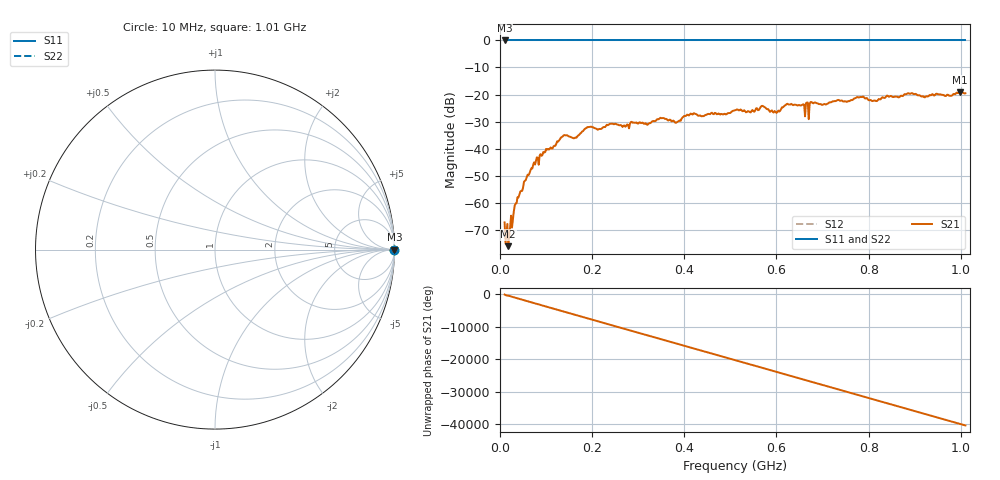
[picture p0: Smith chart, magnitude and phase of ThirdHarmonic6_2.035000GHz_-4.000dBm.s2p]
! 8/17/2025 12:24:37 AM
! C:\ANRITSUVNA\TEMP\TEMP.S2P
! CHANNEL.1
! TR.MEASUREMENT
! RAW.DATA
! RF.CORRECTION.OFF
! AVERAGING.OFF
! IF.BANDWIDTH: 5KHZ
! SWEEPTYPE:  FREQ.SWEEP(Linear)
! Reference Plane Port Info
! PORT:  PORT1  PORT2
! DISTANCE:  0  m  0  m
! TIME:  0  s  0  s
! PHASE.OFFSET:  0  deg.  0  deg.
! LOSS:  0  dB  0  dB
! REF.LOSS:  0  dB  0  dB
! REF.FREQ:  0  Hz  0  Hz
! Power Info
! POWER:  -20  dBm  -20  dBm
! EFF.POWER:  -20  dBm  -20  dBm
! SOURCE.ATTEN:  0  dB  0  dB
! TEST.ATTEN:  0  dB  0  dB
# GHZ S RI R 50.0
! FREQ.GHZ  S11RE  S11IM  S21RE  S21IM  S12RE  S12IM  S22RE  S22IM
!; PortSelection: Port_12
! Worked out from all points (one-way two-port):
!   501 points, 10 MHz to 1.01 GHz, reference 50 ohm
!   highest |S21| = -19.19 dB at 998 MHz (marker M1); lowest = -76.1 dB at 18 MHz (marker M2)
!   lowest |S11| = 0.0 dB at 10 MHz (marker M3)
!   |S11| at or under -10 dB: nowhere
!   |S22| runs from 0.0 to 0.0 dB; largest |S21 - S12| = 1.1
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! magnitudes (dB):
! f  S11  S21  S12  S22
! 10 MHz  0.0  -67.3  0.0  0.0
! 16 MHz  0.0  -67.9  0.0  0.0
! 18 MHz  0.0  -76.1  0.0  0.0
! 22 MHz  0.0  -69.0  0.0  0.0
! 36 MHz  0.0  -60.2  0.0  0.0
! 78 MHz  0.0  -44.6  0.0  0.0
! 136 MHz  0.0  -35.5  0.0  0.0
! 162 MHz  0.0  -36.1  0.0  0.0
! 178 MHz  0.0  -33.7  0.0  0.0
! 194 MHz  0.0  -32.0  0.0  0.0
! 344 MHz  0.0  -29.2  0.0  0.0
! 384 MHz  0.0  -30.2  0.0  0.0
! 416 MHz  0.0  -27.3  0.0  0.0
! 510 MHz  0.0  -25.8  0.0  0.0
! 570 MHz  0.0  -24.2  0.0  0.0
! 598 MHz  0.0  -26.5  0.0  0.0
! 624 MHz  0.0  -23.4  0.0  0.0
! 666 MHz  0.0  -22.9  0.0  0.0
! 678 MHz  0.0  -23.1  0.0  0.0
! 844 MHz  0.0  -20.8  0.0  0.0
! 998 MHz  0.0  -19.2  0.0  0.0
! 1.01 GHz  0.0  -19.5  0.0  0.0
